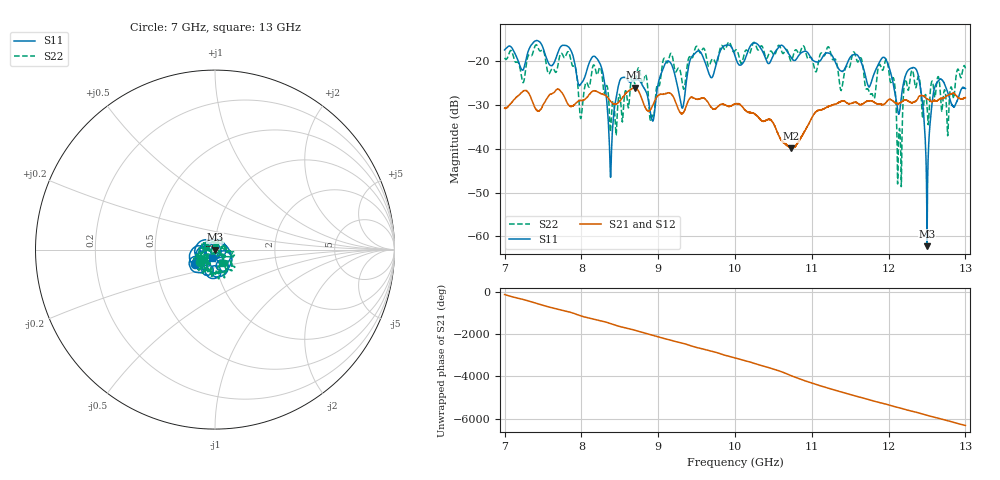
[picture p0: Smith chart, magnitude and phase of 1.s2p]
[Version] 2.0
! Rohde & Schwarz Vector Network Analyzer
! Rohde-Schwarz,ZNL20-2Port,1323001220200009,1.71.1.10-23.02.1.238
! Port Assignments:
! Nominal Port -> Actual Test Port
!  1 -> 1
!  2 -> 2
! Created: GMT+3 2024-09-24 16:01:58
# Hz S DB R 50
[Number of Ports] 2
[Two-Port Data Order] 21_12
! freq[Hz]  S11[mag dB]  S11[ang]  S21[mag dB]  S21[ang]  S12[mag dB]  S12[ang]  S22[mag dB]  S22[ang]
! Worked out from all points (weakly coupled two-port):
!   6001 points, 7 GHz to 13 GHz, reference 50 ohm
!   highest |S21| = -26.05 dB at 8.693 GHz (marker M1); lowest = -39.9 dB at 10.73 GHz (marker M2)
!   lowest |S11| = -62.3 dB at 12.5 GHz (marker M3), VSWR 1.00, Z = 50.1 + j0.0407 ohm
!   |S11| at or under -10 dB: start of sweep to end of sweep
!   |S22| runs from -48.7 to -15.6 dB; largest |S21 - S12| = 0.00084
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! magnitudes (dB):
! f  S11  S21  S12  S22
! 7 GHz  -17.4  -30.7  -30.7  -19.3
! 7.828 GHz  -16.7  -29.9  -29.9  -17.9
! 8 GHz  -25.0  -29.0  -29.0  -32.5
! 8.238 GHz  -20.4  -27.3  -27.3  -21.4
! 8.381 GHz  -46.5  -29.2  -29.2  -35.6
! 8.498 GHz  -24.5  -29.2  -29.2  -27.7
! 8.693 GHz  -24.2  -26.1  -26.1  -25.1
! 8.923 GHz  -33.5  -30.4  -30.4  -32.4
! 9 GHz  -25.1  -27.8  -27.8  -25.5
! 9.314 GHz  -30.7  -32.0  -32.0  -25.1
! 9.487 GHz  -18.1  -28.6  -28.6  -16.8
! 10 GHz  -18.8  -29.8  -29.8  -17.6
! 10.73 GHz  -19.1  -39.9  -39.8  -19.9
! 11 GHz  -19.5  -32.9  -32.9  -19.4
! 12 GHz  -21.1  -28.8  -28.8  -21.9
! 12.14 GHz  -31.8  -29.6  -29.6  -35.5
! 12.22 GHz  -23.5  -28.9  -28.9  -24.2
! 12.36 GHz  -21.9  -29.0  -29.1  -25.8
! 12.5 GHz  -62.3  -28.6  -28.6  -30.2
! 12.62 GHz  -25.1  -29.1  -29.1  -25.5
! 12.77 GHz  -27.2  -27.8  -27.8  -37.0
! 13 GHz  -26.3  -28.3  -28.3  -21.6
